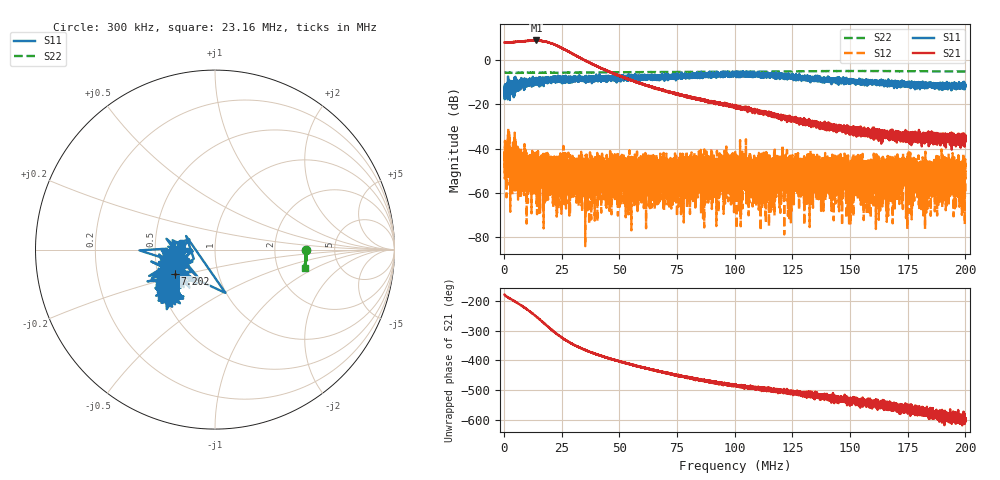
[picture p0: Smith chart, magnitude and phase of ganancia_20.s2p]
# Hz S DB R 50
! CMT, M5065, 19127446, 24.2.4/2
! Date: 11/8/2024 5:41:56 PM
! Data: Format (Calibration Info)
! Freq	S11:dB/Ang(F2)	S21:dB/Ang(F2)	S12:dB/Ang(F2)	S22:dB/Ang(F2)
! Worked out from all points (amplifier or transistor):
!   9000 points, 300 kHz to 200 MHz, reference 50 ohm
!   highest |S21| = 8.7 dB at 14.1 MHz (marker M1)
!   |S21| within 3 dB of that: start of sweep to 24.31 MHz (the widest 1 of 3)
!   unconditionally stable (mu >= 1): start of sweep to end of sweep
!   at 33.59 MHz: K = 121.37, MAG = 2.5 dB, |S12| = -52.1 dB
!   at 100.2 MHz: K = 441.31, MAG = -19.0 dB, |S12| = -42.3 dB
!   at 200 MHz: K = 17775.60, MAG = -33.7 dB, |S12| = -59.2 dB
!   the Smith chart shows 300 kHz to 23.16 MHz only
!   S11 on the Smith chart (normalised r, x): 300 kHz: 0.68, +0.04; 7.202 MHz: 0.61, -0.18; 23.16 MHz: 0.55, -0.34
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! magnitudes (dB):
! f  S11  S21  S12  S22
! 300 kHz  -14.3  7.8  -43.5  -5.9
! 7.202 MHz  -11.6  8.2  -53.5  -5.9
! 14.1 MHz  -9.2  8.7  -44.9  -5.9
! 23.16 MHz  -8.9  6.3  -54.7  -5.8
! 26.64 MHz  -9.0  4.4  -50.4  -5.8
! 33.59 MHz  -8.9  0.5  -52.1  -5.8
! 66.87 MHz  -7.8  -13.1  -64.8  -5.5
! 78.32 MHz  -7.0  -16.3  -43.9  -5.5
! 80.26 MHz  -7.9  -16.7  -63.1  -5.5
! 100.2 MHz  -7.1  -21.4  -42.3  -5.4
! 119.6 MHz  -8.1  -26.3  -61.9  -5.3
! 126.5 MHz  -9.3  -26.9  -55.6  -5.2
! 133.4 MHz  -9.1  -28.8  -63.5  -5.1
! 141.5 MHz  -10.3  -29.3  -62.2  -5.1
! 150.3 MHz  -8.9  -33.1  -44.6  -5.1
! 152.8 MHz  -9.7  -31.1  -44.1  -5.1
! 166.7 MHz  -10.6  -33.4  -49.4  -5.1
! 173.7 MHz  -11.5  -33.2  -51.9  -5.1
! 182.6 MHz  -12.4  -35.9  -45.0  -5.2
! 195.1 MHz  -11.6  -36.4  -43.9  -5.3
! 198.6 MHz  -11.9  -35.1  -56.9  -5.3
! 200 MHz  -11.2  -35.6  -59.2  -5.3
